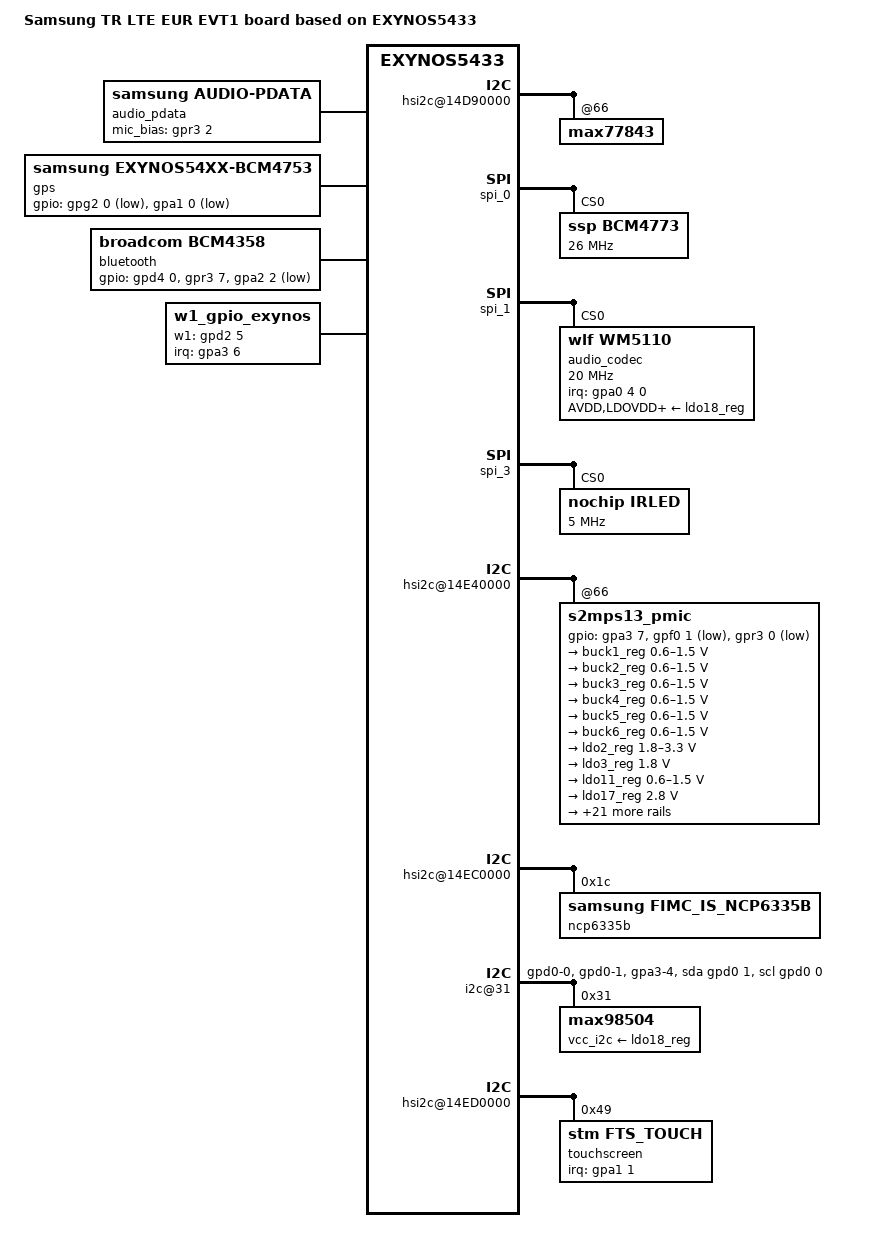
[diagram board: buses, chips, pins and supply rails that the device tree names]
/*
* SAMSUNG UNIVERSAL5433 board device tree source
*
* Copyright (c) 2013 Samsung Electronics Co., Ltd.
*		http://www.samsung.com
*
* This program is free software; you can redistribute it and/or modify
* it under the terms of the GNU General Public License version 2 as
* published by the Free Software Foundation.
*/
/dts-v1/;
#include "exynos5433-t_common.dtsi"
#include "exynos5433-trlte_battery_02.dtsi"
#include "exynos5-sec_modem-m7450.dtsi"
#include "exynos5433-trlte_mhl3x.dtsi"
#include "exynos5433-tre_gpio_13.dtsi"
#include "exynos5433-trelte_fingerprint-sensor_00.dtsi"


/ {
	model = "Samsung TR LTE EUR EVT1 board based on EXYNOS5433";
	model_info-chip = <5433>;
	model_info-platform = "trlte";
	model_info-subtype = "trlte_eur_open";
	model_info-hw_rev = <14>;
	model_info-hw_rev_end = <15>;
	compatible = "samsung,TR E LTE 14", "samsung,exynos5433";

	hsi2c@14D90000 {
		status = "okay";
		max77843@66 {
			status = "okay";
		};
	};

	spi_0: spi@14d20000 {
		#address-cells = <1>;
		#size-cells = <0>;
		pinctrl-names = "default";
		pinctrl-0 = <&spi0_mosi_sck_ssn &spi0_miso>;

		BCM4773@0 {
			compatible = "ssp,BCM4773";
			reg = <0>;
			spi-max-frequency = <26000000>;
			spi-cpol;
			spi-cpha;
			pinctrl-names = "default";
			pinctrl-0 = <&ssp_irq &ssp_mcu_req &ssp_mcu_resp>;

			gpio-controller;
			#gpio-cells = <2>;
			ssp-irq = <&gpa3 3 0x01>;
			ssp-mcu-req = <&gpf2 3 0x01>;
			ssp-mcu-resp = <&gpf2 2 0x00>;
			ssp-acc-position = <5>;
			ssp-mag-position = <3>;
			ssp-sns-combination = <0>;
			ssp,prox-hi_thresh = <130>;
			ssp,prox-low_thresh = <90>;
			ssp-ap-rev = <1>;
			ssp-mag-array = <10196 176 (-21) 516 10378 20 (-774) 1027 9454>; /* Only for YAS532 */
			ssp-hw-rev = <12>;

			controller-data {
				cs-gpio = <&gpd8 1 0>;
				samsung,spi-feedback-delay = <0>;
				};
			};
	};

	spi_1: spi@14d30000 {
		/delete-property/ dma-mode;
		/delete-property/ dmas;
		/delete-property/ dma-names;
		#address-cells = <1>;
		#size-cells = <0>;
		pinctrl-names = "default";
		pinctrl-0 = <&spi1_bus>;

		audio_codec: wm5110@0 {
			compatible = "wlf,wm5110";
			reg = <0x0>;
			spi-max-frequency = <20000000>;
			interrupts = <4 0 0>;
			interrupt-parent = <&gpa0>;

			gpio-controller;
			#gpio-cells = <2>;

			pinctrl-names ="default";
			pinctrl-0 = <&codec_reset &codec_ldoena &audio_ctrl &codec_irq>;

			wlf,reset = <&gpc0 7 0>;
			wlf,ldoena = <&gpf0 0 0>;
			wlf,init-mic-delay = <30>;
			wlf,micd-detect-debounce = <300>;
			wlf,micd-pol-gpio = <0>;
			wlf,micd-bias-start-time = <0x1>;
			wlf,micd-rate = <0x7>;
			wlf,micd-dbtime = <0x1>;
			wlf,micd-timeout = <1000>;
			wlf,micd-force-micbias;
			wlf,hpdet-moisture-imp = <2000>;
			wlf,hpdet-channel = <1>;
			wlf,hpdet-ext-res = <59>;
			wlf,hpdet-short-circuit-imp = <3>;
			wlf,micd-ranges = <
				139 226
				295 115
				752 114
				1257 217
			>;

			wlf,micd-configs = <
				0x0 1 0
			>;

			wlf,micbias1 = <2800 0 1 0 0>;
			wlf,micbias2 = <1800 0 1 0 0>;
			wlf,micbias3 = <1800 0 1 0 0>;

			wlf,gpio-defaults = <
				0xA101
				0xA101
				0xA101
				0xA101
				0x8101
			>;

			wlf,gpsw = <0x3>;
			wlf,use-jd-gpio;
			wlf,jd-gpio-nopull;
			wlf,micd-software-compare;
			wlf,micd-open-circuit-declare = <1>;
			wlf,jd-wake-time = <5000>;

			wlf,max-channels-clocked = <2 0 0>;
			/* 0:MICVDD 1:MICBIAS1 2:MICBIAS2 3:MICBIAS3 */
			wlf,dmic-ref = <2 1 3 0>;
			/* 1st cell:IN1 2rd cell:IN2 3nd cell:IN3 4th cell:IN4 */
			wlf,inmode = <2 0 2 0>;
			/* 1st cell:OUT1 2nd cell:OUT2 3rd cell:OUT3... 6th cell:OUT6 */
			wlf,out-mono = <0 1 1 0 0 0>;

			AVDD-supply = <&ldo18_reg>;
			LDOVDD-supply = <&ldo18_reg>;
			DBVDD1-supply = <&ldo18_reg>;

			CPVDD-supply = <&ldo18_reg>;
			DBVDD2-supply = <&ldo18_reg>;
			DBVDD3-supply = <&ldo18_reg>;
			SPKVDDL-supply = <&ldo18_reg>;
			SPKVDDR-supply = <&ldo18_reg>;

			adsps {
				#address-cells = <1>;
				#size-cells = <0>;

				adsp@1100 {
					reg = <0x1100>;
					firmware {
						EDAC {
							wlf,wmfw-file = "edac";
							wlf,bin-file = "edac";
						};
						TRACE {
							wlf,wmfw-file = "trace";
							wlf,bin-file = "None";
							wlf,compr-caps = <1 8 0x4 1 8000 16000 24000>;
						};
					};
				};
				adsp@1200 {
					reg = <0x1200>;
					firmware {
						TX_NB {
							wlf,wmfw-file = "tx-nb";
							wlf,bin-file = "None";
						};
						TX_WB {
							wlf,wmfw-file = "tx-wb";
							wlf,bin-file = "None";
						};
						TX_SWB_INTERVIEW {
							wlf,wmfw-file = "tx-swb";
							wlf,bin-file = "None";
						};
						TX_SWB_CONVERSATION {
							wlf,wmfw-file = "tx-swb";
							wlf,bin-file = "None";
						};
						TX_FB_MEETING {
							wlf,wmfw-file = "tx-fb-meeting";
							wlf,bin-file = "tx-fb-meeting";
						};
					};
				};
				adsp@1300 {
					reg = <0x1300>;
					firmware {
						TX_NB {
							wlf,wmfw-file = "tx-nb";
							wlf,bin-file = "tx-nb";
						};
						TX_WB {
							wlf,wmfw-file = "tx-wb";
							wlf,bin-file = "tx-wb";
						};
						TX_SWB_INTERVIEW {
							wlf,wmfw-file = "tx-swb";
							wlf,bin-file = "tx-swb-interview";
						};
						TX_SWB_CONVERSATION {
							wlf,wmfw-file = "tx-swb";
							wlf,bin-file = "tx-swb-conversation";
						};
						TX_WB_MEETING {
							wlf,wmfw-file = "tx-wb-meeting";
							wlf,bin-file = "tx-wb-meeting";
						};

						VOICECONTROL {
							wlf,wmfw-file = "ez2-control";
							wlf,bin-file = "ez2-control";
							wlf,compr-caps = <1 1 0x4 1 16000>;
						};
						LPSD {
							wlf,wmfw-file = "ez2-control";
							wlf,bin-file = "lpsd-control";
						};
					};
				};
				adsp@1400 {
					reg = <0x1400>;
					firmware {
						DSM {
							wlf,wmfw-file = "dsm";
							wlf,bin-file = "None";
						};
						RX_NB {
							wlf,wmfw-file = "rx-anc-nb";
							wlf,bin-file = "rx-anc-nb";
						};
						RX_WB {
							wlf,wmfw-file = "rx-anc-wb";
							wlf,bin-file = "rx-anc-wb";
						};
					};
				};
			};
			controller-data {
				cs-gpio = <&gpd6 3 0>;
				samsung,spi-feedback-delay = <0>;
			};
		};
	};

	spi_3: spi@14d50000 {
		#address-cells = <1>;
		#size-cells = <0>;
		pinctrl-names = "default";
		pinctrl-0 = <&spi3_bus>;
		pinctrl-1 = <&spi3_cs>;
		status = "okay";

		irled@0 {
			compatible = "nochip,irled";
			reg = <0>;
			spi-max-frequency = <5000000>;
			irled,default_hz = <38000>;
			irled,high_bit_size = <6>;
			irled,power_type = "LDO";
			irled,ldo = <&gpr3 3 0>;

			controller-data {
				cs-gpio = <&gpg3 5 0>;
				samsung,spi-feedback-delay = <0>;
				samsung,spi-chip-select-mode = <0>;
			};
		};
	};

	audio_pdata {
		compatible = "samsung,audio-pdata";

		mic_bias_gpio = <&gpr3 2 0>;
		seamless_voicewakeup;
		status = "okay";
	};

	pinctrl@11090000 {
		codec_ldoena: codec-ldoena {
			samsung,pins ="gpf0-0";
			samsung,pin-con-pdn =<3>;
		};
	};

	pinctrl@14CC0000 {
		codec_reset: codec-reset {
			samsung,pins ="gpc0-7";
			samsung,pin-function = <1>;
			samsung,pin-pud = <1>;
			samsung,pin-con-pdn =<3>;
			samsung,pin-pud-pdn = <1>;
		};

		max98504_i2c: max98504-i2c {
			samsung,pins = "gpd0-0", "gpd0-1";
			samsung,pin-pud = <0>;
		};
	};

	pinctrl@15690000{
		audio_ctrl: audio-ctl {
			samsung,pins ="gpr3-2";
			samsung,pin-con-pdn =<3>;
		};
	};

	pinctrl@10580000 {
		codec_irq: codec-irq {
			samsung,pins = "gpa0-4";
			samsung,pin-pud = <0>;
		};

		max98504_ctrl: max98504-ctl {
			samsung,pins ="gpa3-4";
			samsung,pin-function = <0>;
			samsung,pin-pud = <0>;
			samsung,pin-con-pdn =<2>;
			samsung,pin-pud-pdn = <0>;
		};
	};

	gps {
		compatible = "samsung,exynos54xx-bcm4753";

		pinctrl-names = "default";
		pinctrl-0 = <&ssp_gps_pwr_en &ssp_host_wake>;

		gpios = <&gpg2 0 0x1
			      &gpa1 0 0xf
				>;
		status = "okay";
	};

	pinctrl@114B0000 {
		uart_aud_rts: uart-aud-rts {
			samsung,pins = "gpz1-3";
			samsung,pin-function = <2>;
			samsung,pin-pud = <0>;
			samsung,pin-con-pdn = <1>;
			samsung,pin-pud-pdn = <0>;
		};

		uart_aud_cts: uart-aud-cts {
			samsung,pins = "gpz1-2";
			samsung,pin-function = <2>;
			samsung,pin-pud = <0>;
			samsung,pin-con-pdn = <2>;
			samsung,pin-pud-pdn = <0>;
		};

		uart_aud_rx: uart-aud-rx {
			samsung,pins = "gpz1-1";
			samsung,pin-function = <2>;
			samsung,pin-pud = <0>;
			samsung,pin-con-pdn = <2>;
			samsung,pin-pud-pdn = <0>;
		};

		uart_aud_tx: uart-aud-tx {
			samsung,pins = "gpz1-0";
			samsung,pin-function = <2>;
			samsung,pin-pud = <0>;
			samsung,pin-con-pdn = <1>;
			samsung,pin-pud-pdn = <0>;
		};
	};

	serial@11460000 {
		pinctrl-0 = <&uart_aud_rts &uart_aud_cts &uart_aud_rx &uart_aud_tx>;
		pinctrl-1 = <&uart_aud_rx &uart_aud_tx &uart_aud_bus_idle>;
	};

	pinctrl@14CC0000 {
		cfg_en: cfg-en {
			samsung,pins ="gpd4-0";
			samsung,pin-function = <1>;
			samsung,pin-pud = <1>;
			samsung,pin-con-pdn = <3>;
			samsung,pin-pud-pdn = <1>;
		};
	};

	pinctrl@10580000{
		cfg_hostwake: cfg-hostwake {
			samsung,pins = "gpa2-2";
			samsung,pin-function = <0>;
			samsung,pin-pud = <0>;
			samsung,pin-con-pdn = <2>;
			samsung,pin-pud-pdn = <0>;
		};
	};

	pinctrl@15690000{
		cfg_btwake: cfg-btwake {
			samsung,pins = "gpr3-7";
			samsung,pin-function = <1>;
			samsung,pin-pud = <0>;
			samsung,pin-con-pdn = <0>;
			samsung,pin-pud-pdn = <1>;
		};
	};

	bluetooth {
		compatible = "broadcom,bcm4358";

		gpios = <&gpd4 0 0	/*BT_EN*/
				&gpr3 7 0	/*BT_WAKE*/
				&gpa2 2 0xF	/*BT_HOST_WAKE*/ >;

		pinctrl-names = "default";
		pinctrl-0=<&cfg_hostwake &cfg_btwake &cfg_en>;
		status = "okay";
	};

	pinctrl@15690000 {
		pm_dvs_en: pm-dvs-en {
			samsung,pins = "gpr3-0";
			samsung,pin-pud = <0>;
		};
	};

	pinctrl@11090000 {
		pm_g3d_en: pm-g3d-en {
			samsung,pins = "gpf0-1";
			samsung,pin-pud = <3>;
		};
	};

	hsi2c@14E40000 {
		s2mps13_pmic@66 {
			pinctrl-names = "default";
			pinctrl-0 = <&pm_g3d_en &pm_dvs_en &pmic_irq &pm_wrsti &gpa3_pull_up>;
			gpios = <&gpa3 7 0>, <&gpf0 1 0x1>, <&gpr3 0 0x1>;
			g3d_en = <1>; /* 1 : enable , 0 : disable */
			smpl_warn_vth = <0xd8>; /* LowBat_Level: 2.9V LowBat_Hys: 400mV */
			regulators {
				buck1_reg: BUCK1 {
					regulator-name = "vdd_mif";
					regulator-min-microvolt = <600000>;
					regulator-max-microvolt = <1500000>;
					regulator-always-on;
					regulator-boot-on;
					regulator-ramp-delay = <12000>;
					regulator-initial-mode = <1>;
				};

				buck2_reg: BUCK2 {
					regulator-name = "vdd_eagle";
					regulator-min-microvolt = <600000>;
					regulator-max-microvolt = <1500000>;
					regulator-always-on;
					regulator-boot-on;
					regulator-ramp-delay = <12000>;
					regulator-initial-mode = <1>;
				};

				buck3_reg: BUCK3 {
					regulator-name = "vdd_kfc";
					regulator-min-microvolt = <600000>;
					regulator-max-microvolt = <1500000>;
					regulator-always-on;
					regulator-boot-on;
					regulator-ramp-delay = <12000>;
					regulator-initial-mode = <1>;
				};

				buck4_reg: BUCK4 {
					regulator-name = "vdd_int";
					regulator-min-microvolt = <600000>;
					regulator-max-microvolt = <1500000>;
					regulator-always-on;
					regulator-boot-on;
					regulator-ramp-delay = <12000>;
					regulator-initial-mode = <1>;
				};

				buck5_reg: BUCK5 {
					regulator-name = "vdd_disp_cam0";
					regulator-min-microvolt = <600000>;
					regulator-max-microvolt = <1500000>;
					regulator-always-on;
					regulator-boot-on;
					regulator-ramp-delay = <12000>;
					regulator-initial-mode = <1>;
				};

				buck6_reg: BUCK6 {
					regulator-name = "vdd_g3d";
					regulator-min-microvolt = <600000>;
					regulator-max-microvolt = <1500000>;
					regulator-always-on;
					regulator-boot-on;
					regulator-ramp-delay = <12000>;
					regulator-initial-mode = <1>;
				};

				ldo2_reg: LDO2 {
					regulator-name = "vqmmc";
					regulator-min-microvolt = <1800000>;
					regulator-max-microvolt = <3300000>;
					regulator-boot-on;
					regulator-ramp-delay = <12000>;
					regulator-initial-mode = <1>;
				};

				ldo3_reg: LDO3 {
					regulator-name = "VDD1_E_1.8V_AP";
					regulator-min-microvolt = <1800000>;
					regulator-max-microvolt = <1800000>;
					regulator-always-on;
				};

				ldo11_reg: LDO11 {
					regulator-name = "vdd_int_m";
					regulator-min-microvolt = <600000>;
					regulator-max-microvolt = <1500000>;
					regulator-always-on;
					regulator-boot-on;
					regulator-ramp-delay = <12000>;
					regulator-initial-mode = <1>;
				};

				ldo17_reg: LDO17 {
					regulator-name = "vmmc";
					regulator-min-microvolt = <2800000>;
					regulator-max-microvolt = <2800000>;
				};

				ldo18_reg: LDO18 {
					regulator-name = "V_CODEC_1.8V_AP";
					regulator-min-microvolt = <1800000>;
					regulator-max-microvolt = <1800000>;
					regulator-always-on;
					regulator-initial-mode = <3>;
				};

				ldo19_reg: LDO19 {
					regulator-name = "VDDA_1.8V_COMP";
					regulator-min-microvolt = <1800000>;
					regulator-max-microvolt = <1800000>;
				};

				ldo21_reg: LDO21 {
					regulator-name = "VT_CAM_1.8V";
					regulator-min-microvolt = <1800000>;
					regulator-max-microvolt = <1800000>;
				};

				ldo22_reg: LDO22 {
					regulator-name = "CAM_IO_1.8V_AP";
					regulator-min-microvolt = <1800000>;
					regulator-max-microvolt = <1800000>;
				};

				ldo23_reg: LDO23 {
					regulator-name = "CAM_SEN_CORE_1.2V_AP";
					regulator-min-microvolt = <1050000>;
					regulator-max-microvolt = <1200000>;
				};

				ldo24_reg: LDO24 {
					regulator-name = "VT_CAM_1.2V";
					regulator-min-microvolt = <1200000>;
					regulator-max-microvolt = <1200000>;
				};

				ldo25_reg: LDO25 {
					regulator-name = "CAM_SEN_A2.8V_AP";
					regulator-min-microvolt = <2800000>;
					regulator-max-microvolt = <2950000>;
				};

				ldo26_reg: LDO26 {
					regulator-name = "CAM_AF_2.8V_AP";
					regulator-min-microvolt = <2800000>;
					regulator-max-microvolt = <2800000>;
				};

				ldo27_reg: LDO27 {
					regulator-name = "VCC_3.0V_LCD_AP";
					regulator-min-microvolt = <3000000>;
					regulator-max-microvolt = <3000000>;
					regulator-boot-on;
				};

				ldo28_reg: LDO28 {
					regulator-name = "VCC_1.8V_LCD_AP";
					regulator-min-microvolt = <1800000>;
					regulator-max-microvolt = <1800000>;
					regulator-boot-on;
				};

				ldo29_reg: LDO29 {
					regulator-name = "VT_CAM_2.8V";
					regulator-min-microvolt = <3000000>;
					regulator-max-microvolt = <3000000>;
				};

				ldo30_reg: LDO30 {
					regulator-name = "tsp_avdd";
					regulator-min-microvolt = <3300000>;
					regulator-max-microvolt = <3300000>;
				};

				ldo31_reg: LDO31 {
					regulator-name = "tsp_io";
					regulator-min-microvolt = <1850000>;
					regulator-max-microvolt = <1850000>;
					regulator-initial-mode = <3>;
				};

				ldo32_reg: LDO32 {
					regulator-name = "vtouch_1.8v";
					regulator-min-microvolt = <1800000>;
					regulator-max-microvolt = <1800000>;
					regulator-boot-on;
				};

				ldo33_reg: LDO33 {
					regulator-name = "vtouch_3.3v";
					regulator-min-microvolt = <3300000>;
					regulator-max-microvolt = <3300000>;
					regulator-boot-on;
				};

				ldo34_reg: LDO34 {
					regulator-name = "VCC_1.8V_MHL";
					regulator-min-microvolt = <1800000>;
					regulator-max-microvolt = <1800000>;
				};

				ldo35_reg: LDO35 {
					regulator-name = "OIS_VM_2.8V";
					regulator-min-microvolt = <2800000>;
					regulator-max-microvolt = <2800000>;
				};

				ldo36_reg: LDO36 {
					regulator-name = "VSIL_1.0V";
					regulator-min-microvolt = <1000000>;
					regulator-max-microvolt = <1000000>;
				};

				ldo38_reg: LDO38 {
					regulator-name = "VCC_3.0V_MOTOR_AP";
					regulator-min-microvolt = <3000000>;
					regulator-max-microvolt = <3000000>;
				};

				ldo39_reg: LDO39 {
					regulator-name = "V_HRM_1.8V";
					regulator-min-microvolt = <1800000>;
					regulator-max-microvolt = <1850000>;
					regulator-initial-mode = <1>;
				};

				ldo40_reg: LDO40 {
					regulator-name = "V_IRLED_3.3V";
					regulator-min-microvolt = <3300000>;
					regulator-max-microvolt = <3350000>;
					regulator-initial-mode = <1>;
				};
			};
		};
	};

	hsi2c@14EC0000 {
		fimc_is_fan53555@60 {
			status = "disabled";
		};
		ncp6335b@1c {
			compatible = "samsung,fimc_is_ncp6335b";
			reg = <0x1c>;
			comp_en = <&gpf1 7 0x01>;
			status = "okay";
		};
	};

	pinctrl@14CC0000 {
		vibetonz_pwm: vibetonz-pwm {
		      samsung,pins = "gpd2-4";
		      samsung,pin-function = <2>;
		      samsung,pin-pud = <0>;
		      samsung,pin-drv = <0>;
	      };
	};

	mipi-lli@10F24000 {
		reg = <0x10F24000 0x4000>,
		      <0x10F34000 0x4000>,
		      <0x10FD0000 0x2000>,
		      <0x105C0720 0x4>;
		modem-name = "xmm7260";
		modems {
			xmm7260 {
				/* shared memory size for IPC */
				shdmem_size = <8>;
				/* is the shdmem allocated by ion */
				is_ion_alloc = <1>;
				/* disable scrambler */
				scrambler = <0>;
				/* do not control automode by AP */
				automode = <0>;
			};
		};
		mphy {
			modem-name = "xmm7260";
			modems {
				xmm7260 {
					/* initial-gear is HS-G1 */
					init-gear = <2 1 1>;
					/* use shared reference clock for MPHY */
					shd-refclk = <1>;
				};
			};
		};
	};

	i2c@31 {
		compatible = "i2c-gpio";
		gpios = <&gpd0 1 0
			      &gpd0 0 0
			>;
		i2c-gpio,delay-us = <2>;
		#address-cells = <1>;
		#size-cells = <0>;
		pinctrl-names = "default";
		pinctrl-0 = <&max98504_i2c &max98504_ctrl>;
		status = "okay";
		max98504@31 {
			compatible = "max98504";
			reg = <0x31>;
			vcc_i2c-supply = <&ldo18_reg>;
			max98504,rx_mode = <1>;
			max98504,tx_mode = <1>;
			max98504,cfg_data = <0 0 0 0 0 3 0 2 0 0>;
		};
	};

	/* Modem_IF: LTE ERICSSON M7450 */
	mif_sipc5 {
		compatible = "sec_modem,modem_pdata";
		status = "okay";
		pinctrl-names = "default";
		pinctrl-0 = <&phone_active &cp_dump_int &pwrrst &link_slavewake &link_active &cp_on &ap_dump_int &cp_reset>;

		mif,gpio_cp_on = <&gpr3 1 0x1>;		/* output */
		mif,gpio_cp_reset = <&gpf1 1 0x0>;
		mif,gpio_phone_active = <&gpa2 3 0xf>;	/* INT */
		mif,gpio_ap_dump_int = <&gpr2 0 0x1>;
		mif,gpio_cp_dump_int = <&gpf1 2 0x0>;	/* intput */
		mif,gpio_pda_active = <&gpg2 1 0x1>;	/* output */
	};

	/* Modem_IF: LTE ERICSSON M7450 */
	link_pm_hsic {
		compatible = "sec_modem,linkpm_pdata";
		status = "okay";
		pinctrl-names = "default";
		pinctrl-0 = <&link_active &link_slavewake>;

		linkpm,gpio_link_active = <&gpf0 5 0x1>;
		linkpm,gpio_link_hostwake = <&gpa1 2 0xf>;
		linkpm,gpio_link_slavewake = <&gpf5 0 0x1>;
		linkpm,gpio_link_cp2ap_status = <&gpa2 5 0xf>;
	};

	pinctrl@10580000 {
		phone_active: phone_active {
			samsung,pins = "gpa2-3";
			samsung,pin-function = <0xf>;	/* INT */
			samsung,pin-pud = <0>;			/* No PULL */
			samsung,pin-drv = <0>;
		};

		cp_dump_int: cp_dump_int {
			samsung,pins = "gpa2-6";
			samsung,pin-function = <0x0>;	/* IN */
			samsung,pin-pud = <0>;			/* No PULL */
			samsung,pin-drv = <0>;
		};

		pwrrst: pwrrst {
			samsung,pins = "gpa3-1";
			samsung,pin-function = <0x0>;	/* IN */
			samsung,pin-pud = <0>;			/* No PULL */
			samsung,pin-drv = <0>;
		};

		cp_reset: cp_reset {
			samsung,pins = "gpf1-1";
			samsung,pin-function = <0>;
			samsung,pin-pud = <0>;			/* No PULL */
			samsung,pin-drv = <0>;
		};

		link_slavewake: link_slavewake {
			samsung,pins = "gpf5-0";
			samsung,pin-function = <1>;
			samsung,pin-con-pdn = <3>;	/* Previous state */
			samsung,pin-pud-pdn = <1>;	/* PD enable */
		};
	};

	pinctrl@11090000 {
		link_active: link_active {
			samsung,pins = "gpf0-5";
			samsung,pin-function = <1>;
			samsung,pin-con-pdn = <3>;
			samsung,pin-pud-pdn = <1>;
		};
	};

	pinctrl@15690000 {
		cp_on: cp_on {
			samsung,pins = "gpr3-1";
			samsung,pin-function = <1>;
			samsung,pin-con-pdn = <3>;
			samsung,pin-pud-pdn = <0>;	/* PU/PD disable */
		};

		ap_dump_int: ap_dump_int {
			samsung,pins = "gpr2-0";
			samsung,pin-function = <1>;
			samsung,pin-con-pdn = <3>;
			samsung,pin-pud-pdn = <1>;
		};
	};

	dwmmc1@15550000 {
		status = "disabled";
	};

	pinctrl@10580000 {
		attn_irq: attn-irq {
			samsung,pins = "gpa1-1";
			samsung,pin-function = <0xf>;
			samsung,pin-pud = <0>;
			samsung,pin-drv = <0>;
		};

		attn_input: attn-input {
			samsung,pins = "gpa1-1";
			samsung,pin-function = <0>;
			samsung,pin-pud = <1>;
			samsung,pin-drv = <0>;
		};
	};

	hsi2c@14ED0000 {
		status = "okay";
		touchscreen@20 {
			compatible = "stm,fts_touch";
			reg = <0x49>;
			pinctrl-names = "on_state", "off_state";
			pinctrl-0 = <&attn_irq>;
			pinctrl-1 = <&attn_input>;
			stm,irq_gpio = <&gpa1 1 0>;
			stm,irq_type = <8200>;
			stm,max_coords = <1439 2559>;	/* x y */
			stm,regulator_dvdd = "tsp_io";
			stm,regulator_avdd = "tsp_avdd";
			stm,project_name = "TR", "N910";
			stm,firmwaire_name = "tsp_stm/stm_t.fw";
		};
	};

	pinctrl@14CC0000 {
		disp_old_rst: disp_old_rst {
			samsung,pins = "gpv7-2";
			samsung,pin-function = <0>;
			samsung,pin-pud = <0x1>;
		};
		oled_det: oled_det {
			samsung,pins = "gpc1-1";
			samsung,pin-function = <0xf>;
			samsung,pin-pud = <0x1>;
		};
		oled_det_off: oled_det_off {
			samsung,pins = "gpc1-1";
			samsung,pin-function = <1>;
			samsung,pin-pud = <0>;
		};
	};

	/* disp_driver : should be moved to common dts later */
	decon_fb: decon_fb {
		oled-det-gpio = <&gpc1 1 0xf>;
		pinctrl-0 = <&disp_id &disp_pcd &disp_errfg  &disp_old_rst &oled_det>;
		pinctrl-1 = <&disp_id &disp_pcd &disp_errfg &disp_teson &oled_det>;
		pinctrl-3 = <&disp_id &disp_pcd &disp_errfg_off &disp_teson &oled_det_off>;

		decon_board_list: decon_board_list {
			disable_display_driver_power {
				gpios = <&gpg0 0 0x1>, <&gpf1 5 0x1>;
			};
			reset_display_driver_panel {
				gpios = <&gpg0 0 0x1>, <&gpg0 0 0x1>, <&gpg0 0 0x1>;
			};
		};
	};

	pinctrl@10580000 {
		cover_irq: cover-irq {
			samsung,pins = "gpa3-6";
			samsung,pin-function = <0xf>;
			samsung,pin-pud = <0>;
			samsung,pin-pud-pdn =<0>;
			samsung,pin-drv = <0>;
		};
	};

	w1_gpio_exynos {
		status = "okay";
		compatible = "w1_gpio_exynos";
		pinctrl-names = "default";
		pinctrl-0 = <&cover_irq>;
		is_open_drain = <1>;
		slave_speed = <1>;
		register_addr = <0x14CC0120>;
		register_num = <5>;
		w1,gpio = <&gpd2 5 0>;
		w1,irq-gpio = <&gpa3 6 0>;
	};

	pinctrl@10580000 {
		ok_sw: ok-sw {
			samsung,pins = "gpa0-3";
			samsung,pin-pud = <0>;
			samsung,pin-drv = <0>;
		};
	};

	gpio_keys {
		pinctrl-names = "default";
		pinctrl-0 = <&ok_sw>;
	};

	hsi2c@14EC0000 {
		/delete-node/ adpd142@64;
	};
};
